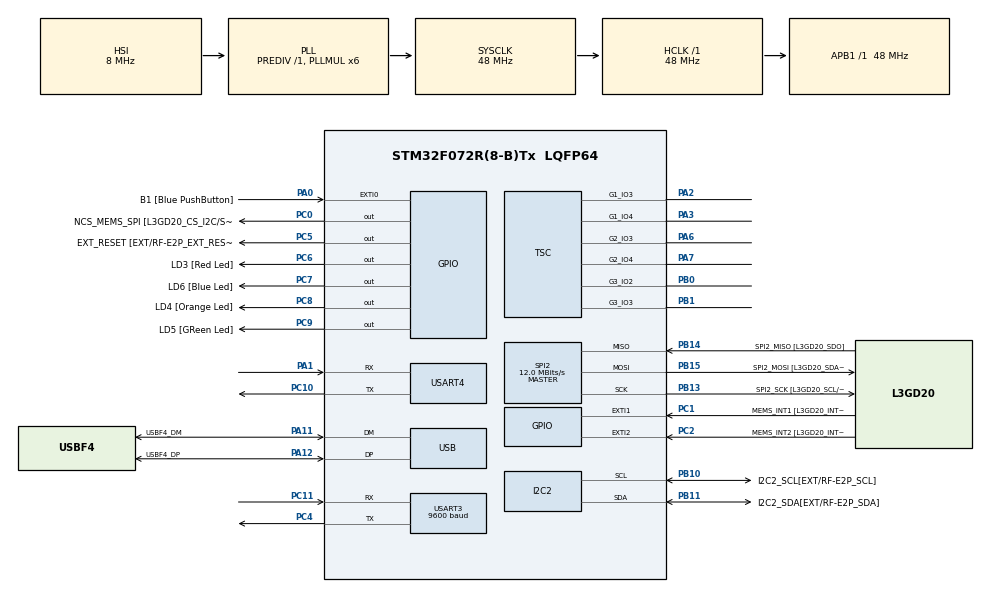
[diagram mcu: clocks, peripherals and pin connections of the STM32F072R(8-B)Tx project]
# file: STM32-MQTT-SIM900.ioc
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Dma.Request0=USART3_RX
Dma.USART3_RX.0.Direction=DMA_PERIPH_TO_MEMORY
Dma.USART3_RX.0.Instance=DMA1_Channel3
Dma.USART3_RX.0.MemDataAlignment=DMA_MDATAALIGN_BYTE
Dma.USART3_RX.0.MemInc=DMA_MINC_ENABLE
Dma.USART3_RX.0.Mode=DMA_CIRCULAR
Dma.USART3_RX.0.PeriphDataAlignment=DMA_PDATAALIGN_BYTE
Dma.USART3_RX.0.PeriphInc=DMA_PINC_DISABLE
Dma.USART3_RX.0.Priority=DMA_PRIORITY_LOW
I2C2.Timing=0x20303E5D
Mcu.Family=STM32F0
Mcu.Name=STM32F072R(8-B)Tx
Mcu.Package=LQFP64
NVIC.DMA1_Channel2_3_IRQn=true\:0\:0\:false\:false\:true\:false\:true\:true
NVIC.USART3_4_IRQn=true\:0\:0\:false\:false\:true\:true\:true\:true
PA0.GPIO_Label=B1 [Blue PushButton]
PA0.GPIO_ModeDefaultEXTI=GPIO_MODE_EVT_RISING
PA0.Signal=GPXTI0
PA1.Mode=Asynchronous
PA1.Signal=USART4_RX
PA11.GPIO_Label=USBF4_DM
PA11.Mode=Device
PA11.Signal=USB_DM
PA12.GPIO_Label=USBF4_DP
PA12.Mode=Device
PA12.Signal=USB_DP
PA13.GPIO_Label=SWDIO
PA13.Mode=Serial_Wire
PA13.Signal=SYS_SWDIO
PA14.GPIO_Label=SWCLK
PA14.Mode=Serial_Wire
PA14.Signal=SYS_SWCLK
PA2.Mode=G1_IO3-Channel
PA2.Signal=TSC_G1_IO3
PA3.Mode=G1_IO4-Sampling
PA3.Signal=TSC_G1_IO4
PA6.Mode=G2_IO3-Channel
PA6.Signal=TSC_G2_IO3
PA7.Mode=G2_IO4-Sampling
PA7.Signal=TSC_G2_IO4
PB0.Mode=G3_IO2-Channel
PB0.Signal=TSC_G3_IO2
PB1.Mode=G3_IO3-Sampling
PB1.Signal=TSC_G3_IO3
PB10.GPIO_Label=I2C2_SCL[EXT/RF-E2P_SCL]
PB10.GPIO_Pu=GPIO_PULLUP
PB10.Mode=I2C
PB10.Signal=I2C2_SCL
PB11.GPIO_Label=I2C2_SDA[EXT/RF-E2P_SDA]
PB11.GPIO_Pu=GPIO_PULLUP
PB11.Mode=I2C
PB11.Signal=I2C2_SDA
PB13.GPIO_Label=SPI2_SCK [L3GD20_SCL/SPC]
PB13.Mode=Full_Duplex_Master
PB13.Signal=SPI2_SCK
PB14.GPIO_Label=SPI2_MISO [L3GD20_SDO]
PB14.Mode=Full_Duplex_Master
PB14.Signal=SPI2_MISO
PB15.GPIO_Label=SPI2_MOSI [L3GD20_SDA/SDI]
PB15.Mode=Full_Duplex_Master
PB15.Signal=SPI2_MOSI
PC0.GPIO_Label=NCS_MEMS_SPI [L3GD20_CS_I2C/SPI]
PC0.Signal=GPIO_Output
PC1.GPIO_Label=MEMS_INT1 [L3GD20_INT1]
PC1.GPIO_ModeDefaultEXTI=GPIO_MODE_EVT_RISING
PC1.Signal=GPXTI1
PC10.Mode=Asynchronous
PC10.Signal=USART4_TX
PC11.Mode=Asynchronous
PC11.Signal=USART3_RX
PC2.GPIO_Label=MEMS_INT2 [L3GD20_INT2]
PC2.GPIO_ModeDefaultEXTI=GPIO_MODE_EVT_RISING
PC2.Signal=GPXTI2
PC4.Mode=Asynchronous
PC4.Signal=USART3_TX
PC5.GPIO_Label=EXT_RESET [EXT/RF-E2P_EXT_RESET]
PC5.Signal=GPIO_Output
PC6.GPIO_Label=LD3 [Red Led]
PC6.Signal=GPIO_Output
PC7.GPIO_Label=LD6 [Blue Led]
PC7.Signal=GPIO_Output
PC8.GPIO_Label=LD4 [Orange Led]
PC8.Signal=GPIO_Output
PC9.GPIO_Label=LD5 [GReen Led]
PC9.Signal=GPIO_Output
ProjectManager.HeapSize=0x200
ProjectManager.StackSize=0x400
ProjectManager.TargetToolchain=STM32CubeIDE
RCC.AHBFreq_Value=48000000
RCC.APB1Freq_Value=48000000
RCC.APB1TimFreq_Value=48000000
RCC.HCLKFreq_Value=48000000
RCC.PLLMUL=RCC_PLL_MUL6
RCC.SYSCLKFreq_VALUE=48000000
RCC.SYSCLKSource=RCC_SYSCLKSOURCE_PLLCLK
SPI2.BaudRatePrescaler=SPI_BAUDRATEPRESCALER_4
SPI2.CalculateBaudRate=12.0 MBits/s
SPI2.Direction=SPI_DIRECTION_2LINES
SPI2.Mode=SPI_MODE_MASTER
SPI2.VirtualType=VM_MASTER
USART3.BaudRate=9600
USART3.VirtualMode-Asynchronous=VM_ASYNC
USART4.VirtualMode-Asynchronous=VM_ASYNC
USB.phy_itface=PCD_PHY_EMBEDDED
USB.speed=PCD_SPEED_FULL
board=STM32F072B-DISCO

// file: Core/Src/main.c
/* USER CODE BEGIN Header */
/**
  ******************************************************************************
  * @file           : main.c
  * @brief          : Main program body
  ******************************************************************************
  * @attention
  *
  * Copyright (c) 2022 STMicroelectronics.
  * All rights reserved.
  *
  * This software is licensed under terms that can be found in the LICENSE file
  * in the root directory of this software component.
  * If no LICENSE file comes with this software, it is provided AS-IS.
  *
  ******************************************************************************
  */
/* USER CODE END Header */
#include "main.h"

/* USER CODE BEGIN Includes */
#include <string.h>
#include <stdarg.h>
#include <stdio.h>
#include <stdlib.h>
/* USER CODE END Includes */

/* USER CODE BEGIN PD */
#define 	CMD_DELAY 	1000
/* USER CODE END PD */

I2C_HandleTypeDef hi2c2;

SPI_HandleTypeDef hspi2;

TSC_HandleTypeDef htsc;

UART_HandleTypeDef huart3;
UART_HandleTypeDef huart4;
DMA_HandleTypeDef hdma_usart3_rx;

PCD_HandleTypeDef hpcd_USB_FS;

/* USER CODE BEGIN PV */

unsigned char mqttMessage_header[127];

int mqttMessageLength_header = 0;

unsigned char mqttMessage_body[127];

int mqttMessageLength_body = 0;

int32_t session = 0;

char *  clientId =  "basbousa-ny1023F4D"; //  Chnage with random ID
char * topic ="mqttdemo";

/* USER CODE END PV */

void SystemClock_Config(void);
static void MX_GPIO_Init(void);
static void MX_DMA_Init(void);
static void MX_I2C2_Init(void);
static void MX_SPI2_Init(void);
static void MX_TSC_Init(void);
static void MX_USB_PCD_Init(void);
static void MX_USART3_UART_Init(void);
static void MX_USART4_UART_Init(void);
/* USER CODE BEGIN PFP */

void printk(const char *fmt, ...);

void mqtt_connect_message(uint8_t *, char *);

void mqtt_publish_message(uint8_t *, char *, char *);

int SIM900_SendCommand(const char *command, char *reply, uint16_t delay);

/* USER CODE END PFP */

int main(void)
{

  /* MCU Configuration--------------------------------------------------------*/

  /* Reset of all peripherals, Initializes the Flash interface and the Systick. */
  HAL_Init();

  /* Configure the system clock */
  SystemClock_Config();

  /* Initialize all configured peripherals */
  MX_GPIO_Init();
  MX_DMA_Init();
  MX_I2C2_Init();
  MX_SPI2_Init();
  MX_TSC_Init();
  MX_USB_PCD_Init();
  MX_USART3_UART_Init();
  MX_USART4_UART_Init();

 HAL_Delay(20000);

 SIM900_SendCommand("AT\r\n", "OK\r\n", CMD_DELAY); // Check AT

 SIM900_SendCommand("AT+CGATT=1\r\n", "OK\r\n", CMD_DELAY);  //  AT command is used to attach the device to packet domain service.

 SIM900_SendCommand("AT+CSTT=\"internet.ooredoo.tn\"", "OK\r\n", 2000); // AT command Set APN  ( Chnage with your APN )

 SIM900_SendCommand("AT+CIICR\r\n", "OK\r\n", CMD_DELAY); // AT command brings up the GPRS

 SIM900_SendCommand("AT+CIFSR\r\n", "", CMD_DELAY); // AT command returns the local IP address

 SIM900_SendCommand("AT+CSQ\r\n", "", CMD_DELAY); // AT command returns the signal strength of the device.

 mqttMessageLength_header = 16 + strlen(clientId);

 mqtt_connect_message(mqttMessage_header, clientId);

  /* USER CODE END 2 */

  /* Infinite loop */
  while (1)
  {

		  // Connect
		  SIM900_SendCommand("AT+CIPSTART=\"TCP\",\"broker.mqttdashboard.com\",\"1883\"\r\n","OK\n\r",  2000);

		  // Check
		  SIM900_SendCommand("AT+CIPSTATUS\r\n","OK\n\r",  CMD_DELAY);

		  SIM900_SendCommand("AT+CIPSEND\r\n","",  CMD_DELAY);

		  // Header

		  for (int k = 0; k < mqttMessageLength_header; k++) {

			HAL_UART_Transmit(&huart3, (uint8_t *)&mqttMessage_header[k], 1, 100); 	  // SEND HEADER MQTT
		   }

		  uint8_t end_sig = 26;

		  HAL_UART_Transmit(&huart3, &end_sig, 1, 100);

		  HAL_Delay(100);

		  // SEND MQTT BODY

		  for( int x=0 ; x < 50; x++){

				char message[25];
				sprintf(message,"Hello Mqtt : %li",session);
				session++;
			  	mqttMessageLength_body = 4 + strlen(topic) + strlen(message);

			  	mqtt_publish_message(mqttMessage_body, topic, message);

			        SIM900_SendCommand("AT+CIPSEND\r\n"," ", CMD_DELAY);

				  for (int k = 0; k < mqttMessageLength_body; k++) {
					HAL_UART_Transmit(&huart3, (uint8_t *)&mqttMessage_body[k], 1, 100);
				  }

				  HAL_UART_Transmit(&huart3, &end_sig, 1, 100);
				  HAL_Delay(100);
		  }

		  HAL_Delay(100);

		  SIM900_SendCommand("AT+CIPCLOSE\r\n", "", CMD_DELAY);

	      HAL_Delay(10000);

  }
}

void SystemClock_Config(void)
{
  RCC_OscInitTypeDef RCC_OscInitStruct = {0};
  RCC_ClkInitTypeDef RCC_ClkInitStruct = {0};
  RCC_PeriphCLKInitTypeDef PeriphClkInit = {0};

  /** Initializes the RCC Oscillators according to the specified parameters
  * in the RCC_OscInitTypeDef structure.
  */
  RCC_OscInitStruct.OscillatorType = RCC_OSCILLATORTYPE_HSI|RCC_OSCILLATORTYPE_HSI48;
  RCC_OscInitStruct.HSIState = RCC_HSI_ON;
  RCC_OscInitStruct.HSI48State = RCC_HSI48_ON;
  RCC_OscInitStruct.HSICalibrationValue = RCC_HSICALIBRATION_DEFAULT;
  RCC_OscInitStruct.PLL.PLLState = RCC_PLL_ON;
  RCC_OscInitStruct.PLL.PLLSource = RCC_PLLSOURCE_HSI;
  RCC_OscInitStruct.PLL.PLLMUL = RCC_PLL_MUL6;
  RCC_OscInitStruct.PLL.PREDIV = RCC_PREDIV_DIV1;
  if (HAL_RCC_OscConfig(&RCC_OscInitStruct) != HAL_OK)
  {
    Error_Handler();
  }

  /** Initializes the CPU, AHB and APB buses clocks
  */
  RCC_ClkInitStruct.ClockType = RCC_CLOCKTYPE_HCLK|RCC_CLOCKTYPE_SYSCLK
                              |RCC_CLOCKTYPE_PCLK1;
  RCC_ClkInitStruct.SYSCLKSource = RCC_SYSCLKSOURCE_PLLCLK;
  RCC_ClkInitStruct.AHBCLKDivider = RCC_SYSCLK_DIV1;
  RCC_ClkInitStruct.APB1CLKDivider = RCC_HCLK_DIV1;

  if (HAL_RCC_ClockConfig(&RCC_ClkInitStruct, FLASH_LATENCY_1) != HAL_OK)
  {
    Error_Handler();
  }
  PeriphClkInit.PeriphClockSelection = RCC_PERIPHCLK_USB;
  PeriphClkInit.UsbClockSelection = RCC_USBCLKSOURCE_HSI48;

  if (HAL_RCCEx_PeriphCLKConfig(&PeriphClkInit) != HAL_OK)
  {
    Error_Handler();
  }
}

static void MX_I2C2_Init(void)
{

  hi2c2.Instance = I2C2;
  hi2c2.Init.Timing = 0x20303E5D;
  hi2c2.Init.OwnAddress1 = 0;
  hi2c2.Init.AddressingMode = I2C_ADDRESSINGMODE_7BIT;
  hi2c2.Init.DualAddressMode = I2C_DUALADDRESS_DISABLE;
  hi2c2.Init.OwnAddress2 = 0;
  hi2c2.Init.OwnAddress2Masks = I2C_OA2_NOMASK;
  hi2c2.Init.GeneralCallMode = I2C_GENERALCALL_DISABLE;
  hi2c2.Init.NoStretchMode = I2C_NOSTRETCH_DISABLE;
  if (HAL_I2C_Init(&hi2c2) != HAL_OK)
  {
    Error_Handler();
  }

  /** Configure Analogue filter
  */
  if (HAL_I2CEx_ConfigAnalogFilter(&hi2c2, I2C_ANALOGFILTER_ENABLE) != HAL_OK)
  {
    Error_Handler();
  }

  /** Configure Digital filter
  */
  if (HAL_I2CEx_ConfigDigitalFilter(&hi2c2, 0) != HAL_OK)
  {
    Error_Handler();
  }

}

static void MX_SPI2_Init(void)
{

  /* SPI2 parameter configuration*/
  hspi2.Instance = SPI2;
  hspi2.Init.Mode = SPI_MODE_MASTER;
  hspi2.Init.Direction = SPI_DIRECTION_2LINES;
  hspi2.Init.DataSize = SPI_DATASIZE_4BIT;
  hspi2.Init.CLKPolarity = SPI_POLARITY_LOW;
  hspi2.Init.CLKPhase = SPI_PHASE_1EDGE;
  hspi2.Init.NSS = SPI_NSS_SOFT;
  hspi2.Init.BaudRatePrescaler = SPI_BAUDRATEPRESCALER_4;
  hspi2.Init.FirstBit = SPI_FIRSTBIT_MSB;
  hspi2.Init.TIMode = SPI_TIMODE_DISABLE;
  hspi2.Init.CRCCalculation = SPI_CRCCALCULATION_DISABLE;
  hspi2.Init.CRCPolynomial = 7;
  hspi2.Init.CRCLength = SPI_CRC_LENGTH_DATASIZE;
  hspi2.Init.NSSPMode = SPI_NSS_PULSE_ENABLE;
  if (HAL_SPI_Init(&hspi2) != HAL_OK)
  {
    Error_Handler();
  }

}

static void MX_TSC_Init(void)
{

  /** Configure the TSC peripheral
  */
  htsc.Instance = TSC;
  htsc.Init.CTPulseHighLength = TSC_CTPH_2CYCLES;
  htsc.Init.CTPulseLowLength = TSC_CTPL_2CYCLES;
  htsc.Init.SpreadSpectrum = DISABLE;
  htsc.Init.SpreadSpectrumDeviation = 1;
  htsc.Init.SpreadSpectrumPrescaler = TSC_SS_PRESC_DIV1;
  htsc.Init.PulseGeneratorPrescaler = TSC_PG_PRESC_DIV4;
  htsc.Init.MaxCountValue = TSC_MCV_8191;
  htsc.Init.IODefaultMode = TSC_IODEF_OUT_PP_LOW;
  htsc.Init.SynchroPinPolarity = TSC_SYNC_POLARITY_FALLING;
  htsc.Init.AcquisitionMode = TSC_ACQ_MODE_NORMAL;
  htsc.Init.MaxCountInterrupt = DISABLE;
  htsc.Init.ChannelIOs = TSC_GROUP1_IO3|TSC_GROUP2_IO3|TSC_GROUP3_IO2;
  htsc.Init.ShieldIOs = 0;
  htsc.Init.SamplingIOs = TSC_GROUP1_IO4|TSC_GROUP2_IO4|TSC_GROUP3_IO3;
  if (HAL_TSC_Init(&htsc) != HAL_OK)
  {
    Error_Handler();
  }

}

static void MX_USART3_UART_Init(void)
{

  huart3.Instance = USART3;
  huart3.Init.BaudRate = 115200;
  huart3.Init.WordLength = UART_WORDLENGTH_8B;
  huart3.Init.StopBits = UART_STOPBITS_1;
  huart3.Init.Parity = UART_PARITY_NONE;
  huart3.Init.Mode = UART_MODE_TX_RX;
  huart3.Init.HwFlowCtl = UART_HWCONTROL_NONE;
  huart3.Init.OverSampling = UART_OVERSAMPLING_16;
  huart3.Init.OneBitSampling = UART_ONE_BIT_SAMPLE_DISABLE;
  huart3.AdvancedInit.AdvFeatureInit = UART_ADVFEATURE_NO_INIT;
  if (HAL_UART_Init(&huart3) != HAL_OK)
  {
    Error_Handler();
  }

}

static void MX_USART4_UART_Init(void)
{

  huart4.Instance = USART4;
  huart4.Init.BaudRate = 38400;
  huart4.Init.WordLength = UART_WORDLENGTH_8B;
  huart4.Init.StopBits = UART_STOPBITS_1;
  huart4.Init.Parity = UART_PARITY_NONE;
  huart4.Init.Mode = UART_MODE_TX_RX;
  huart4.Init.HwFlowCtl = UART_HWCONTROL_NONE;
  huart4.Init.OverSampling = UART_OVERSAMPLING_16;
  huart4.Init.OneBitSampling = UART_ONE_BIT_SAMPLE_DISABLE;
  huart4.AdvancedInit.AdvFeatureInit = UART_ADVFEATURE_NO_INIT;
  if (HAL_UART_Init(&huart4) != HAL_OK)
  {
    Error_Handler();
  }

}

static void MX_USB_PCD_Init(void)
{

  hpcd_USB_FS.Instance = USB;
  hpcd_USB_FS.Init.dev_endpoints = 8;
  hpcd_USB_FS.Init.speed = PCD_SPEED_FULL;
  hpcd_USB_FS.Init.phy_itface = PCD_PHY_EMBEDDED;
  hpcd_USB_FS.Init.low_power_enable = DISABLE;
  hpcd_USB_FS.Init.lpm_enable = DISABLE;
  hpcd_USB_FS.Init.battery_charging_enable = DISABLE;
  if (HAL_PCD_Init(&hpcd_USB_FS) != HAL_OK)
  {
    Error_Handler();
  }

}

static void MX_DMA_Init(void)
{

  /* DMA controller clock enable */
  __HAL_RCC_DMA1_CLK_ENABLE();

  /* DMA interrupt init */
  /* DMA1_Channel2_3_IRQn interrupt configuration */
  HAL_NVIC_SetPriority(DMA1_Channel2_3_IRQn, 0, 0);
  HAL_NVIC_EnableIRQ(DMA1_Channel2_3_IRQn);

}

static void MX_GPIO_Init(void)
{
  GPIO_InitTypeDef GPIO_InitStruct = {0};

  /* GPIO Ports Clock Enable */
  __HAL_RCC_GPIOC_CLK_ENABLE();
  __HAL_RCC_GPIOA_CLK_ENABLE();
  __HAL_RCC_GPIOB_CLK_ENABLE();

  /*Configure GPIO pin Output Level */
  HAL_GPIO_WritePin(GPIOC, NCS_MEMS_SPI_Pin|EXT_RESET_Pin|LD3_Pin|LD6_Pin
                          |LD4_Pin|LD5_Pin, GPIO_PIN_RESET);

  /*Configure GPIO pins : NCS_MEMS_SPI_Pin EXT_RESET_Pin LD3_Pin LD6_Pin
                           LD4_Pin LD5_Pin */
  GPIO_InitStruct.Pin = NCS_MEMS_SPI_Pin|EXT_RESET_Pin|LD3_Pin|LD6_Pin
                          |LD4_Pin|LD5_Pin;
  GPIO_InitStruct.Mode = GPIO_MODE_OUTPUT_PP;
  GPIO_InitStruct.Pull = GPIO_NOPULL;
  GPIO_InitStruct.Speed = GPIO_SPEED_FREQ_LOW;
  HAL_GPIO_Init(GPIOC, &GPIO_InitStruct);

  /*Configure GPIO pins : MEMS_INT1_Pin MEMS_INT2_Pin */
  GPIO_InitStruct.Pin = MEMS_INT1_Pin|MEMS_INT2_Pin;
  GPIO_InitStruct.Mode = GPIO_MODE_EVT_RISING;
  GPIO_InitStruct.Pull = GPIO_NOPULL;
  HAL_GPIO_Init(GPIOC, &GPIO_InitStruct);

  /*Configure GPIO pin : B1_Pin */
  GPIO_InitStruct.Pin = B1_Pin;
  GPIO_InitStruct.Mode = GPIO_MODE_EVT_RISING;
  GPIO_InitStruct.Pull = GPIO_NOPULL;
  HAL_GPIO_Init(B1_GPIO_Port, &GPIO_InitStruct);

}

/* USER CODE BEGIN 4 */

int SIM900_SendCommand(const char *command, char *reply, uint16_t delay)
{
    HAL_UART_Transmit_IT(&huart3, (unsigned char *)command,
                         (uint16_t)strlen(command));
    HAL_Delay(delay);

    if (strstr(mqtt_buffer, reply) != NULL)
    {
        clearRxBuffer();
        return 0;
    }
    clearRxBuffer();
    return 1;
}

void printk(const char *fmt, ...)
{
	static char buffer[256];
	va_list args;
	va_start(args, fmt);
	vsnprintf(buffer, sizeof(buffer), fmt, args);
	va_end(args);

	int len = strlen(buffer);
	HAL_UART_Transmit(&huart4, (uint8_t*) buffer, len, -1);
}

void mqtt_connect_message(uint8_t * mqtt_message, char * client_id) {

	uint8_t i = 0;
	uint8_t client_id_length = strlen(client_id);

	mqtt_message[0] = 16;                      // MQTT Message Type CONNECT
	mqtt_message[1] = 14 + client_id_length;   // Remaining length of the message

	mqtt_message[2] = 0;                       // Protocol Name Length MSB
	mqtt_message[3] = 6;                       // Protocol Name Length LSB
	mqtt_message[4] = 77;                      // ASCII Code for M
	mqtt_message[5] = 81;                      // ASCII Code for Q
	mqtt_message[6] = 73;                      // ASCII Code for I
	mqtt_message[7] = 115;                     // ASCII Code for s
	mqtt_message[8] = 100;                     // ASCII Code for d
	mqtt_message[9] = 112;                     // ASCII Code for p
	mqtt_message[10] = 3;                      // MQTT Protocol version = 3
	mqtt_message[11] = 2;                      // conn flags
	mqtt_message[12] = 0;                      // Keep-alive Time Length MSB
	mqtt_message[13] = 15;                     // Keep-alive Time Length LSB
	mqtt_message[14] = 0;                      // Client ID length MSB
	mqtt_message[15] = client_id_length;       // Client ID length LSB

	// Client ID
	for(i = 0; i < client_id_length + 16; i++){

		mqtt_message[16 + i] = client_id[i];
	}

}

void mqtt_publish_message(uint8_t * mqtt_message, char * topic, char * message) {

	uint8_t i = 0;
	uint8_t topic_length = strlen(topic);
	uint8_t message_length = strlen(message);

	mqtt_message[0] = 48;                                  // MQTT Message Type CONNECT
	mqtt_message[1] = 2 + topic_length + message_length;   // Remaining length
	mqtt_message[2] = 0;                                   // MQTT Message Type CONNECT
	mqtt_message[3] = topic_length;                        // MQTT Message Type CONNECT

	// Topic
	for(i = 0; i < topic_length; i++){
		mqtt_message[4 + i] = topic[i];
	}

	// Message
	for(i = 0; i < message_length; i++){
		mqtt_message[4 + topic_length + i] = message[i];
	}

}

/* USER CODE END 4 */

void Error_Handler(void)
{
  __disable_irq();
  while (1)
  {
  }
}
